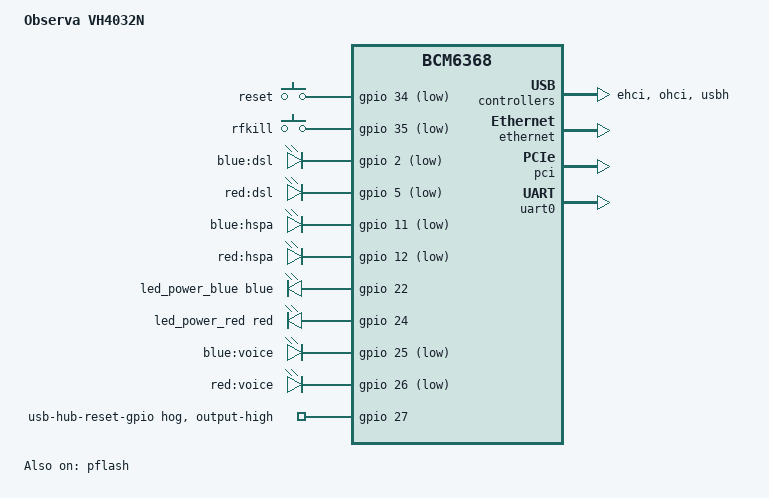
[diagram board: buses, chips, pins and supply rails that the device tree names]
// SPDX-License-Identifier: GPL-2.0-or-later

#include "bcm6368.dtsi"

/ {
	model = "Observa VH4032N";
	compatible = "observa,vh4032n", "brcm,bcm6368";

	aliases {
		led-boot = &led_power_blue;
		led-failsafe = &led_power_red;
		led-running = &led_power_blue;
		led-upgrade = &led_power_blue;
	};

	keys {
		compatible = "gpio-keys-polled";
		poll-interval = <100>;

		reset {
			label = "reset";
			gpios = <&gpio 34 GPIO_ACTIVE_LOW>;
			linux,code = <KEY_RESTART>;
			debounce-interval = <60>;
		};

		rfkill {
			label = "rfkill";
			gpios = <&gpio 35 GPIO_ACTIVE_LOW>;
			linux,code = <KEY_RFKILL>;
			debounce-interval = <60>;
		};
	};

	leds {
		compatible = "gpio-leds";

		led@2 {
			label = "blue:dsl";
			gpios = <&gpio 2 GPIO_ACTIVE_LOW>;
		};

		led@5 {
			label = "red:dsl";
			gpios = <&gpio 5 GPIO_ACTIVE_LOW>;
		};

		led@11 {
			label = "blue:hspa";
			gpios = <&gpio 11 GPIO_ACTIVE_LOW>;
		};

		led@12 {
			label = "red:hspa";
			gpios = <&gpio 12 GPIO_ACTIVE_LOW>;
		};

		led_power_blue: led@22 {
			function = LED_FUNCTION_POWER;
			color = <LED_COLOR_ID_BLUE>;
			gpios = <&gpio 22 GPIO_ACTIVE_HIGH>;
		};

		led_power_red: led@24 {
			function = LED_FUNCTION_POWER;
			color = <LED_COLOR_ID_RED>;
			gpios = <&gpio 24 GPIO_ACTIVE_HIGH>;
			panic-indicator;
		};

		led@25 {
			label = "blue:voice";
			gpios = <&gpio 25 GPIO_ACTIVE_LOW>;
		};

		led@26 {
			label = "red:voice";
			gpios = <&gpio 26 GPIO_ACTIVE_LOW>;
		};
	};

	bcm43222-sprom {
		compatible = "brcm,ssb-sprom";

		pci-bus = <0>;
		pci-dev = <1>;

		nvmem-cells = <&macaddr_cfe_6a0 1>;
		nvmem-cell-names = "mac-address";

		brcm,sprom = "brcm/bcm43222-sprom.bin";
		brcm,sprom-fixups = <2   0x04d2>, <4   0x4350>,
				    <65  0x1300>, <68  0x0402>,
				    <70  0x0090>, <71  0x4c19>,
				    <72  0x2345>, <87  0x0315>,
				    <88  0x0315>, <96  0x2048>,
				    <97  0xfed7>, <98  0x15a6>,
				    <99  0xfaee>, <100 0x3e3a>,
				    <101 0x3a36>, <102 0xff7f>,
				    <103 0x11b9>, <104 0xfc53>,
				    <105 0xffe6>, <106 0xfdd2>,
				    <107 0xfe49>, <108 0xff6a>,
				    <109 0x136e>, <110 0xfbed>,
				    <111 0x0000>, <112 0x2048>,
				    <113 0xfee2>, <114 0x15e5>,
				    <115 0xfaed>, <116 0x3e3a>,
				    <117 0x3a36>, <118 0xffc8>,
				    <119 0x12b8>, <120 0xfca1>,
				    <121 0xff9b>, <122 0x122a>,
				    <123 0xfcc8>, <124 0xff95>,
				    <125 0x146b>, <126 0xfbba>,
				    <127 0x0000>, <161 0x0000>,
				    <162 0x0000>, <169 0x0000>,
				    <170 0x0000>, <171 0x0000>,
				    <172 0x0000>, <173 0x0000>,
				    <174 0x0000>, <175 0x0000>,
				    <176 0x0000>, <219 0x1108>;
	};
};

&ehci {
	status = "okay";
};

&ethernet {
	status = "okay";

	nvmem-cells = <&macaddr_cfe_6a0 0>;
	nvmem-cell-names = "mac-address";
};

&gpio {
	usb_hub_reset {
		gpio-hog;
		gpios = <27 GPIO_ACTIVE_HIGH>;
		output-high;
		line-name = "usb-hub-reset-gpio";
	};
};

&ohci {
	status = "okay";
};

&pci {
	status = "okay";
};

&pflash {
	status = "okay";

	partitions {
		compatible = "fixed-partitions";
		#address-cells = <1>;
		#size-cells = <1>;

		partition@0 {
			label = "CFE";
			reg = <0x0000000 0x0020000>;
			read-only;

			nvmem-layout {
				compatible = "fixed-layout";
				#address-cells = <1>;
				#size-cells = <1>;

				macaddr_cfe_6a0: macaddr@6a0 {
					compatible = "mac-base";
					reg = <0x6a0 0x6>;
					#nvmem-cell-cells = <1>;
				};
			};
		};

		partition@20000 {
			compatible = "brcm,bcm963xx-imagetag";
			label = "firmware";
			reg = <0x0020000 0x1fc0000>;
		};

		partition@1fe0000 {
			label = "nvram";
			reg = <0x1fe0000 0x020000>;
		};
	};
};

&pinctrl {
	pinctrl-names = "default";
	pinctrl-0 = <&pinctrl_ephy0_led &pinctrl_ephy1_led
		     &pinctrl_ephy2_led &pinctrl_ephy3_led>;
};

&switch0 {
	ports {
		port@0 {
			reg = <0>;
			label = "lan4";

			phy-handle = <&phy1>;
			phy-mode = "mii";
		};

		port@1 {
			reg = <1>;
			label = "lan3";

			phy-handle = <&phy2>;
			phy-mode = "mii";
		};

		port@2 {
			reg = <2>;
			label = "lan2";

			phy-handle = <&phy3>;
			phy-mode = "mii";
		};

		port@3 {
			reg = <3>;
			label = "lan1";

			phy-handle = <&phy4>;
			phy-mode = "mii";
		};
	};
};

&uart0 {
	status = "okay";
};

&usbh {
	status = "okay";
};
